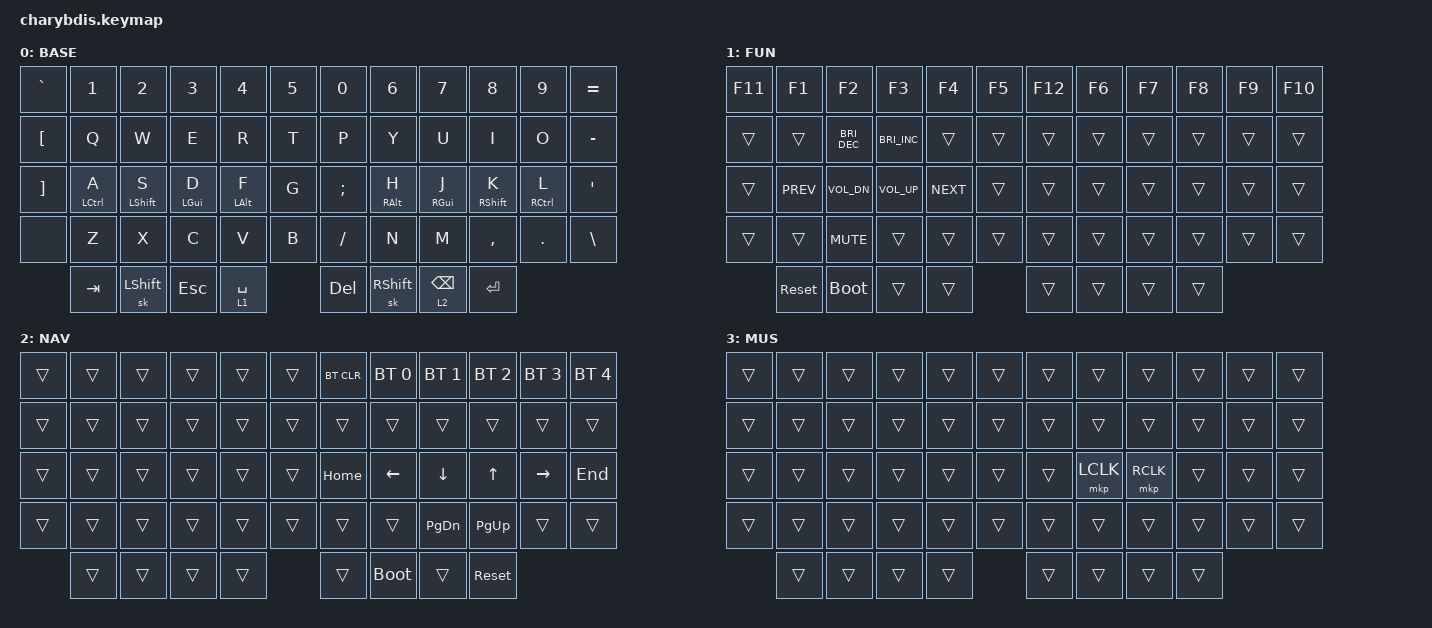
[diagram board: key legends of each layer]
#include <dt-bindings/zmk/mouse.h>
#include <behaviors/mouse_keys.dtsi>
#include <behaviors.dtsi>
#include <dt-bindings/zmk/bt.h>
#include <dt-bindings/zmk/keys.h>
#include <dt-bindings/zmk/pointing.h>

/ {
    chosen { zmk,matrix_transform = &default_transform; };
};

&mt {
    quick-tap-ms = <200>;
    flavor = "tap-preferred";
    tapping-term-ms = <170>;
};

&lt {
    quick-tap-ms = <200>;
    flavor = "tap-preferred";
    tapping-term-ms = <170>;
};

/ {
    behaviors {
        hml: home_row_mod_left {
            compatible = "zmk,behavior-hold-tap";
            #binding-cells = <2>;
            flavor = "balanced";
            require-prior-idle-ms = <0>;
            tapping-term-ms = <280>;
            quick-tap-ms = <175>;
            bindings = <&kp>, <&kp>;

            hold-trigger-key-positions = <6 7 8 9 10 11 18 19 20 21 22 23 30 31 32 33 34 35 42 43 44 45 46 47 54 55 56>;
            hold-trigger-on-release;
        };

        hmr: home_row_mod_right {
            compatible = "zmk,behavior-hold-tap";
            #binding-cells = <2>;
            flavor = "balanced";
            require-prior-idle-ms = <0>;
            tapping-term-ms = <280>;
            quick-tap-ms = <175>;
            bindings = <&kp>, <&kp>;

            hold-trigger-key-positions = <0 1 2 3 4 5 12 13 14 15 16 17 24 25 26 27 28 29 36 37 38 39 40 41 48 49 50 51 52>;
            hold-trigger-on-release;
        };
    };
};

/ {
    combos { compatible = "zmk,combos"; };

    keymap {
        compatible = "zmk,keymap";

        BASE {
            bindings = <
&kp GRAVE          &kp N1        &kp N2          &kp N3       &kp N4           &kp N5                    &kp N0    &kp N6            &kp N7       &kp N8        &kp N9        &kp EQUAL
&kp LEFT_BRACKET   &kp Q         &kp W           &kp E        &kp R            &kp T                     &kp P     &kp Y             &kp U        &kp I         &kp O         &kp MINUS
&kp RIGHT_BRACKET  &hml LCTRL A  &hml LSHIFT S   &hml LGUI D  &hml LEFT_ALT F  &kp G                     &kp SEMI  &hmr RIGHT_ALT H  &hmr RGUI J  &hmr RSHFT K  &hmr RCTRL L  &kp APOS
&none              &kp Z         &kp X           &kp C        &kp V            &kp B                     &kp FSLH  &kp N             &kp M        &kp COMMA     &kp DOT       &kp BACKSLASH
                   &kp TAB       &sk LEFT_SHIFT  &kp ESCAPE   &lt 1 SPACE      &kp DEL  &sk RIGHT_SHIFT            &lt 2 BACKSPACE                &kp ENTER
            >;
        };

        FUN {
            bindings = <
&kp F11  &kp F1      &kp F2         &kp F3         &kp F4      &kp F5  &kp F12          &kp F6  &kp F7  &kp F8  &kp F9  &kp F10
&trans   &trans      &kp C_BRI_DEC  &kp C_BRI_INC  &trans      &trans           &trans  &trans  &trans  &trans  &trans  &trans
&trans   &kp K_PREV  &kp C_VOL_DN   &kp C_VOL_UP   &kp C_NEXT  &trans           &trans  &trans  &trans  &trans  &trans  &trans
&trans   &trans      &kp C_MUTE     &trans         &trans      &trans           &trans  &trans  &trans  &trans  &trans  &trans
         &sys_reset  &bootloader    &trans         &trans      &trans  &trans           &trans          &trans
            >;
        };

        NAV {
            bindings = <
&trans  &trans  &trans  &trans  &trans  &trans  &bt BT_CLR             &bt BT_SEL 0  &bt BT_SEL 1  &bt BT_SEL 2  &bt BT_SEL 3  &bt BT_SEL 4
&trans  &trans  &trans  &trans  &trans  &trans               &trans    &trans        &trans        &trans        &trans        &trans
&trans  &trans  &trans  &trans  &trans  &trans               &kp HOME  &kp LEFT      &kp DOWN      &kp UP_ARROW  &kp RIGHT     &kp END
&trans  &trans  &trans  &trans  &trans  &trans               &trans    &trans        &kp PG_DN     &kp PG_UP     &trans        &trans
        &trans  &trans  &trans  &trans  &trans  &bootloader            &trans                      &sys_reset
            >;
        };

        MUS {
            bindings = <
&trans  &trans  &trans  &trans  &trans  &trans  &trans          &trans     &trans     &trans  &trans  &trans
&trans  &trans  &trans  &trans  &trans  &trans          &trans  &trans     &trans     &trans  &trans  &trans
&trans  &trans  &trans  &trans  &trans  &trans          &trans  &mkp LCLK  &mkp RCLK  &trans  &trans  &trans
&trans  &trans  &trans  &trans  &trans  &trans          &trans  &trans     &trans     &trans  &trans  &trans
        &trans  &trans  &trans  &trans  &trans  &trans          &trans                &trans
            >;
        };
    };
};
